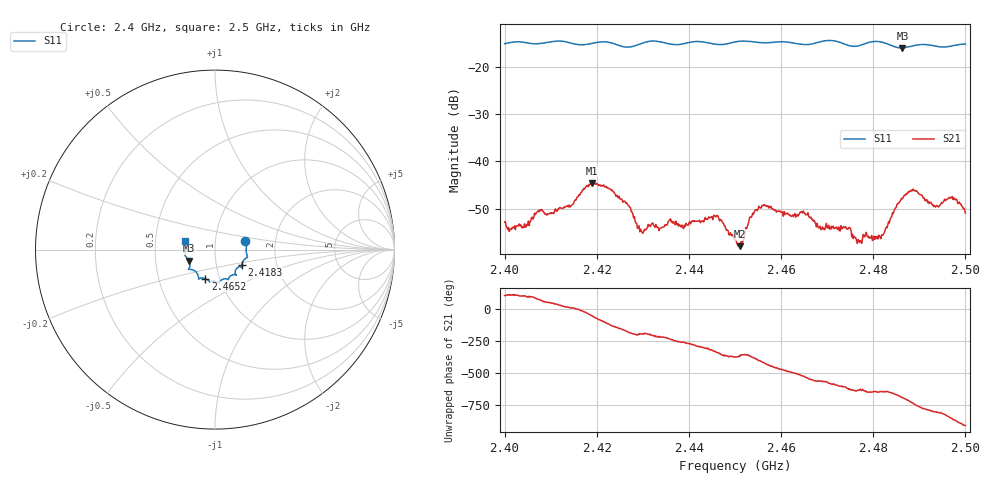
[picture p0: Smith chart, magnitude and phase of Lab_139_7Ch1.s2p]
# Hz S RI R 50
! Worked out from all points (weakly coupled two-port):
!   601 points, 2.4 GHz to 2.5 GHz, reference 50 ohm
!   highest |S21| = -44.55 dB at 2.419 GHz (marker M1); lowest = -57.8 dB at 2.451 GHz (marker M2)
!   lowest |S11| = -16.1 dB at 2.4863 GHz (marker M3), VSWR 1.37, Z = 37.2 - j4.75 ohm
!   |S11| at or under -10 dB: start of sweep to end of sweep
!   S12 and S22 are empty: the file has one direction only
!   S11 on the Smith chart (normalised r, x): 2.4 GHz: 1.40, +0.14; 2.4183 GHz: 1.33, -0.24; 2.4652 GHz: 0.85, -0.28; 2.5 GHz: 0.71, +0.07
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2.4e9  0.1676 0.0472  -0.000658 0.00221  0 0  0 0
2.404167e9  0.1782 0.0254  -0.000469 0.00197  0 0  0 0
2.416667e9  0.1553 -0.0679  0.00462 -0.000947  0 0  0 0
2.418333e9  0.1499 -0.0861  0.00437 -0.00376  0 0  0 0
2.419e9  0.1494 -0.0918  0.00349 -0.00478  0 0  0 0
2.4265e9  0.122 -0.1036  -0.00364 -0.000387  0 0  0 0
2.429667e9  0.1129 -0.1337  -0.00178 0.000503  0 0  0 0
2.433333e9  0.1171 -0.1414  -0.00155 0.00129  0 0  0 0
2.445833e9  0.0555 -0.1625  0.00241 0.000995  0 0  0 0
2.45e9  0.0258 -0.1795  0.00143 -0.000379  0 0  0 0
2.451e9  0.0229 -0.1829  0.00125 -0.000282  0 0  0 0
2.455667e9  0.00237 -0.1783  0.00203 -0.00251  0 0  0 0
2.465167e9  -0.0545 -0.1613  -0.00282 -0.00036  0 0  0 0
2.466667e9  -0.0706 -0.1578  -0.00237 0.000628  0 0  0 0
2.477e9  -0.1211 -0.1139  0.000173 0.00139  0 0  0 0
2.481833e9  -0.1457 -0.1068  0.000559 0.00159  0 0  0 0
2.483333e9  -0.1413 -0.0966  0.000811 0.00218  0 0  0 0
2.486333e9  -0.144 -0.0624  0.00363 0.00177  0 0  0 0
2.488833e9  -0.1609 -0.0414  0.0045 -0.00205  0 0  0 0
2.493667e9  -0.1631 -0.013  0.000235 -0.00338  0 0  0 0
2.497e9  -0.1625 0.0265  -0.00313 -0.0028  0 0  0 0
2.5e9  -0.1658 0.0476  -0.00279 0.000656  0 0  0 0
